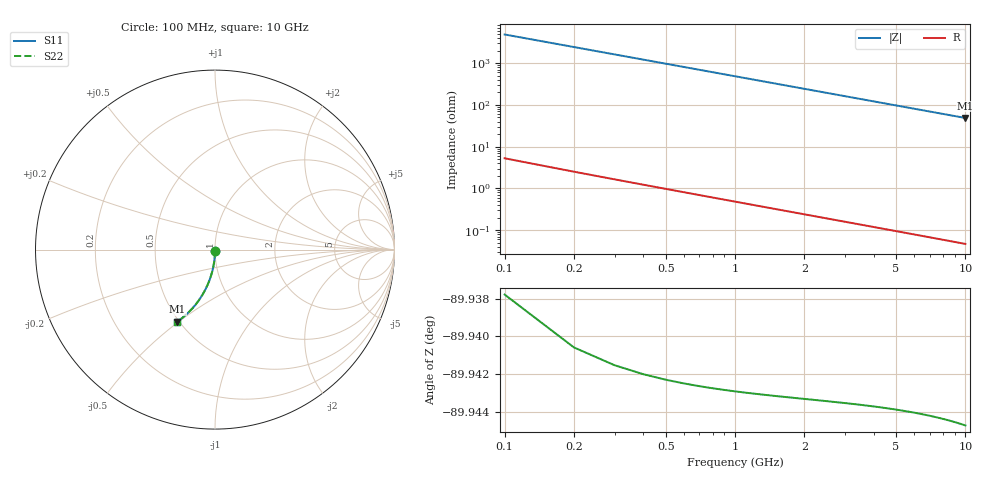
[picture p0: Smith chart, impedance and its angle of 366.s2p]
# Hz S RI R 50.00
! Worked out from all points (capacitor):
!   100 points, 100 MHz to 10 GHz, reference 50 ohm
!   read as one part in shunt: C = 328 fF near 100 MHz
!   lowest |Z| = 48.7 ohm at 10 GHz (marker M1)
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1e8  2.47e-05 -0.00509  0.9999 -0.00521  0.9999 -0.00521  2.47e-05 -0.00509
2e8  -5.96e-05 -0.0102  0.9998 -0.0104  0.9998 -0.0104  -5.96e-05 -0.0102
3e8  -0.000197 -0.0153  0.9997 -0.0156  0.9997 -0.0156  -0.000197 -0.0153
4e8  -0.000387 -0.0204  0.9995 -0.0208  0.9995 -0.0208  -0.000387 -0.0204
5e8  -0.00063 -0.0254  0.9993 -0.026  0.9993 -0.026  -0.00063 -0.0254
6e8  -0.000926 -0.0305  0.999 -0.0312  0.999 -0.0312  -0.000926 -0.0305
7e8  -0.00128 -0.0356  0.9986 -0.0364  0.9986 -0.0364  -0.00128 -0.0356
8e8  -0.00168 -0.0407  0.9982 -0.0416  0.9982 -0.0416  -0.00168 -0.0407
9e8  -0.00213 -0.0457  0.9978 -0.0468  0.9978 -0.0468  -0.00213 -0.0457
1.1e9  -0.0032 -0.0558  0.9967 -0.0571  0.9967 -0.0571  -0.0032 -0.0558
1.4e9  -0.00518 -0.0709  0.9947 -0.0725  0.9947 -0.0725  -0.00518 -0.0709
1.8e9  -0.00855 -0.0909  0.9913 -0.0929  0.9913 -0.0929  -0.00855 -0.0909
2.1e9  -0.0116 -0.1057  0.9883 -0.1081  0.9883 -0.1081  -0.0116 -0.1057
2.5e9  -0.0164 -0.1252  0.9835 -0.128  0.9835 -0.128  -0.0164 -0.1252
2.9e9  -0.0219 -0.1444  0.978 -0.1477  0.978 -0.1477  -0.0219 -0.1444
3.4e9  -0.0298 -0.1679  0.97 -0.1718  0.97 -0.1718  -0.0298 -0.1679
4.2e9  -0.0448 -0.2042  0.955 -0.2089  0.955 -0.2089  -0.0448 -0.2042
5.1e9  -0.0647 -0.2427  0.9352 -0.2485  0.9352 -0.2485  -0.0647 -0.2427
5.9e9  -0.0847 -0.2747  0.9151 -0.2814  0.9151 -0.2814  -0.0847 -0.2747
6.7e9  -0.1066 -0.3044  0.8932 -0.312  0.8932 -0.312  -0.1066 -0.3044
8.4e9  -0.1579 -0.3595  0.8419 -0.369  0.8419 -0.369  -0.1579 -0.3595
1e10  -0.21 -0.4012  0.7898 -0.4126  0.7898 -0.4126  -0.21 -0.4012
